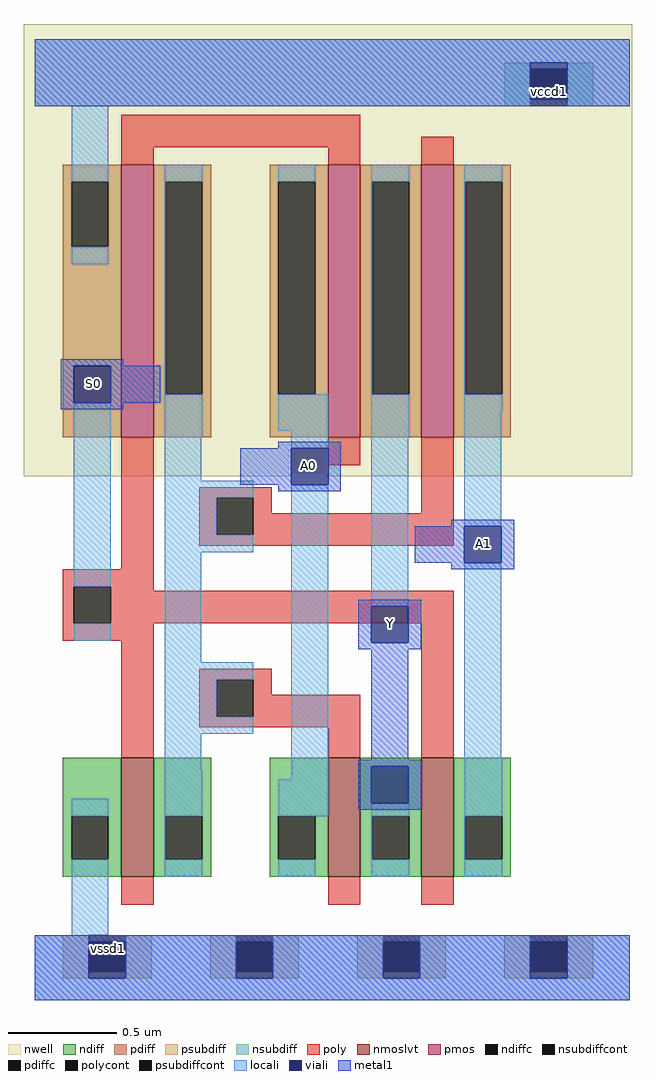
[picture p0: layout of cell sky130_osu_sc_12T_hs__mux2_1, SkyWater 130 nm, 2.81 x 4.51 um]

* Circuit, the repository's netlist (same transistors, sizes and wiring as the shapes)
* NGSPICE file created from sky130_osu_sc_12T_hs__mux2_1.ext - technology: sky130A

.subckt sky130_osu_sc_12T_hs__mux2_1 S0 Y A0 A1 vccd1 vssd1 
X0 Y S0 A0 vccd1 sky130_fd_pr__pfet_01v8 ad=0.1764 pd=1.54 as=0.3402 ps=3.06 w=1.26 l=0.15
X1 Y a_110_114# A0 vssd1  sky130_fd_pr__nfet_01v8_lvt ad=0.077 pd=0.83 as=0.1485 ps=1.64 w=0.55 l=0.15
X2 A1 a_110_114# Y vccd1 sky130_fd_pr__pfet_01v8 ad=0.3339 pd=3.05 as=0.1764 ps=1.54 w=1.26 l=0.15
X3 A1 S0 Y vssd1  sky130_fd_pr__nfet_01v8_lvt ad=0.14575 pd=1.63 as=0.077 ps=0.83 w=0.55 l=0.15
X4 a_110_114# S0 vccd1 vccd1 sky130_fd_pr__pfet_01v8 ad=0.3339 pd=3.05 as=0.3402 ps=3.06 w=1.26 l=0.15
X5 a_110_114# S0 vssd1  vssd1  sky130_fd_pr__nfet_01v8_lvt ad=0.14575 pd=1.63 as=0.1485 ps=1.64 w=0.55 l=0.15
.ends

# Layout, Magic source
magic
tech sky130A
magscale 1 2
<< nwell >>
rect -10 484 552 902
<< pmos >>
rect 80 520 110 772
rect 271 520 301 772
rect 357 520 387 772
<< nmoslvt >>
rect 80 114 110 224
rect 271 114 301 224
rect 357 114 387 224
<< ndiff >>
rect 26 170 80 224
rect 26 130 34 170
rect 68 130 80 170
rect 26 114 80 130
rect 110 170 163 224
rect 110 130 121 170
rect 155 130 163 170
rect 110 114 163 130
rect 217 170 271 224
rect 217 130 225 170
rect 259 130 271 170
rect 217 114 271 130
rect 301 170 357 224
rect 301 130 312 170
rect 346 130 357 170
rect 301 114 357 130
rect 387 170 440 224
rect 387 130 398 170
rect 432 130 440 170
rect 387 114 440 130
<< pdiff >>
rect 26 756 80 772
rect 26 696 34 756
rect 68 696 80 756
rect 26 520 80 696
rect 110 756 163 772
rect 110 560 121 756
rect 155 560 163 756
rect 110 520 163 560
rect 217 756 271 772
rect 217 560 225 756
rect 259 560 271 756
rect 217 520 271 560
rect 301 756 357 772
rect 301 560 312 756
rect 346 560 357 756
rect 301 520 357 560
rect 387 756 440 772
rect 387 560 398 756
rect 432 560 440 756
rect 387 520 440 560
<< ndiffc >>
rect 34 130 68 170
rect 121 130 155 170
rect 225 130 259 170
rect 312 130 346 170
rect 398 130 432 170
<< pdiffc >>
rect 34 696 68 756
rect 121 560 155 756
rect 225 560 259 756
rect 312 560 346 756
rect 398 560 432 756
<< psubdiff >>
rect 26 26 50 60
rect 84 26 108 60
rect 26 20 108 26
rect 162 26 186 60
rect 220 26 244 60
rect 162 20 244 26
rect 298 26 322 60
rect 356 26 380 60
rect 298 20 380 26
rect 434 26 458 60
rect 492 26 516 60
rect 434 20 516 26
<< nsubdiff >>
rect 434 860 516 866
rect 434 826 458 860
rect 492 826 516 860
<< psubdiffcont >>
rect 50 26 84 60
rect 186 26 220 60
rect 322 26 356 60
rect 458 26 492 60
<< nsubdiffcont >>
rect 458 826 492 860
<< poly >>
rect 80 788 301 818
rect 80 772 110 788
rect 271 772 301 788
rect 357 772 387 798
rect 80 398 110 520
rect 271 494 301 520
rect 152 464 219 474
rect 152 430 168 464
rect 202 450 219 464
rect 357 450 387 520
rect 202 430 387 450
rect 152 420 387 430
rect 26 382 110 398
rect 26 348 36 382
rect 70 378 110 382
rect 70 348 387 378
rect 26 332 110 348
rect 80 224 110 332
rect 152 296 219 306
rect 152 262 168 296
rect 202 282 219 296
rect 202 262 301 282
rect 152 252 301 262
rect 271 224 301 252
rect 357 224 387 348
rect 80 88 110 114
rect 271 88 301 114
rect 357 88 387 114
<< polycont >>
rect 168 430 202 464
rect 36 348 70 382
rect 168 262 202 296
<< locali >>
rect 0 866 550 888
rect 0 826 458 866
rect 492 826 550 866
rect 34 756 68 826
rect 34 680 68 696
rect 120 756 155 772
rect 36 382 70 552
rect 36 332 70 348
rect 120 560 121 756
rect 120 520 155 560
rect 225 756 259 772
rect 311 756 346 772
rect 311 560 312 756
rect 225 526 271 560
rect 120 480 154 520
rect 237 510 271 526
rect 120 464 202 480
rect 120 430 168 464
rect 120 414 202 430
rect 120 312 154 414
rect 120 296 202 312
rect 120 262 168 296
rect 120 246 202 262
rect 120 212 154 246
rect 34 170 68 186
rect 34 60 68 130
rect 120 170 155 212
rect 237 204 271 476
rect 311 520 346 560
rect 397 756 432 772
rect 397 560 398 756
rect 397 544 432 560
rect 311 364 345 520
rect 397 438 431 544
rect 397 224 431 404
rect 120 130 121 170
rect 120 114 155 130
rect 225 170 271 204
rect 345 182 346 216
rect 311 170 346 182
rect 225 114 259 130
rect 311 130 312 170
rect 311 114 346 130
rect 397 170 432 224
rect 397 130 398 170
rect 397 114 432 130
rect 0 20 50 60
rect 84 20 186 60
rect 220 20 322 60
rect 356 20 458 60
rect 492 20 550 60
rect 0 0 550 20
<< viali >>
rect 458 860 492 866
rect 458 832 492 860
rect 36 552 70 586
rect 237 476 271 510
rect 311 330 345 364
rect 397 404 431 438
rect 311 182 345 216
rect 50 26 84 54
rect 50 20 84 26
rect 186 26 220 54
rect 186 20 220 26
rect 322 26 356 54
rect 322 20 356 26
rect 458 26 492 54
rect 458 20 492 26
<< metal1 >>
rect 0 866 550 888
rect 0 832 458 866
rect 492 832 550 866
rect 0 826 550 832
rect 24 586 82 592
rect 24 552 36 586
rect 70 552 116 586
rect 24 546 82 552
rect 225 510 283 516
rect 190 476 237 510
rect 271 476 283 510
rect 225 470 283 476
rect 385 438 443 444
rect 351 404 397 438
rect 431 404 443 438
rect 385 398 443 404
rect 299 364 357 370
rect 299 330 311 364
rect 345 330 357 364
rect 299 324 357 330
rect 311 222 345 324
rect 299 216 357 222
rect 299 182 311 216
rect 345 182 357 216
rect 299 176 357 182
rect 0 54 550 60
rect 0 20 50 54
rect 84 20 186 54
rect 220 20 322 54
rect 356 20 458 54
rect 492 20 550 54
rect 0 0 550 20
<< labels >>
rlabel viali 54 570 54 570 1 S0
port 1 n
rlabel viali 68 48 68 48 1 vssd1
port 6 n
rlabel viali 476 840 476 840 1 vccd1
port 5 n
rlabel viali 329 348 329 348 1 Y
port 2 n
rlabel viali 415 422 415 422 1 A1
port 4 n
rlabel viali 253 494 253 494 1 A0
port 3 n
<< end >>
